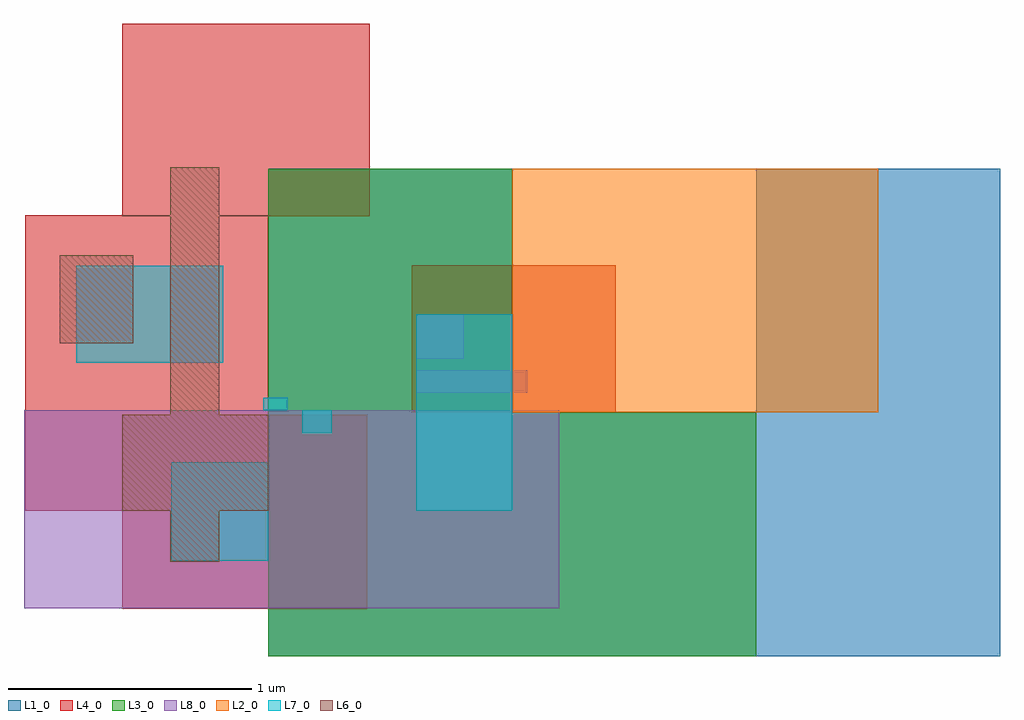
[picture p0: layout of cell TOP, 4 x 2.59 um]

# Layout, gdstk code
import gdstk
lib = gdstk.Library(unit=1e-6, precision=1e-09)
def R(c, l, rs):  # rectangles x0, y0, x1, y1
    for r in rs: c.add(gdstk.rectangle(r[:2], r[2:], *l))
def P(c, l, *ps):  # polygons
    for p in ps: c.add(gdstk.Polygon(p, *l))
L1_0 = (1, 0)
L2_0 = (2, 0)
L3_0 = (3, 0)
L4_0 = (4, 0)
L6_0 = (6, 0)
L7_0 = (7, 0)
L8_0 = (8, 0)

top = lib.new_cell('TOP')
P(top, L1_0, [(0,0),(0,2),(1,2),(1,1),(2,1),(2,2),(3,2),(3,0)])
R(top, L2_0, [(1,1,2.5,2)])
P(top, L3_0, [(0,0),(0,2),(1,2),(1,1),(2,1),(2,0)])
R(top, L4_0, [(-0.598,0.196,0.407,0.991), (-0.402,0.388,-0.201,2.005), (-0.996,0.598,0,1.809), (0.589,1,1.425,1.603), (-0.854,1.283,-0.553,1.644), (-0.598,1.804,0.416,2.594)])
R(top, L6_0, [(-0.854,1.283,-0.553,1.644)])
P(top, L6_0, [(-0.402,0.388),(-0.402,0.598),(-0.598,0.598),(-0.598,0.991),(-0.402,0.991),(-0.402,1.804),(-0.598,1.804),(-0.598,1.809),(-0.402,1.809),(-0.402,2.005),(-0.201,2.005),(-0.201,1.809),(0,1.809),(0,1.804),(-0.201,1.804),(-0.201,0.991),(0,0.991),(0,0.598),(-0.201,0.598),(-0.201,0.388)])
R(top, L7_0, [(-0.398,0.393,0,0.796), (0.607,0.597,1,1.403), (0.139,0.914,0.26,1.008), (-0.02,1.008,0.08,1.06), (-0.787,1.204,-0.185,1.602)])
R(top, L8_0, [(-1.001,0.198,1.193,1.008), (0.607,1.08,1.061,1.172), (0.607,1.22,0.801,1.403)])

lib.write_gds('TOP.gds')
